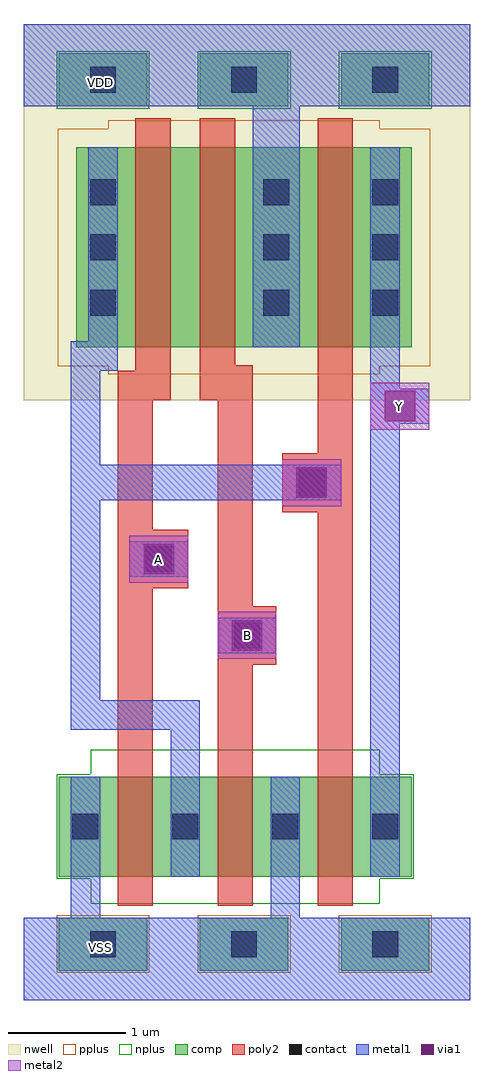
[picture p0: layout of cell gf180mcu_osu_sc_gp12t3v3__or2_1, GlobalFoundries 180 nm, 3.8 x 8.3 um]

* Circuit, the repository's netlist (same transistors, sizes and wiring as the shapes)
* Copyright 2022 Google LLC
*
* Licensed under the Apache License, Version 2.0 (the "License");
* you may not use this file except in compliance with the License.
* You may obtain a copy of the License at
*
*      http://www.apache.org/licenses/LICENSE-2.0
*
* Unless required by applicable law or agreed to in writing, software
* distributed under the License is distributed on an "AS IS" BASIS,
* WITHOUT WARRANTIES OR CONDITIONS OF ANY KIND, either express or implied.
* See the License for the specific language governing permissions and
* limitations under the License.

* NGSPICE file created from gf180mcu_osu_sc_gp12t3v3__or2_1.ext - technology: gf180mcuC

.subckt gf180mcu_osu_sc_gp12t3v3__or2_1 A B Y VDD VSS
X0 VDD B a_25_111# VDD pfet_03p3 w=1.7u l=0.3u
X1 a_25_111# A a_9_111# VDD pfet_03p3 w=1.7u l=0.3u
X2 Y a_9_111# VSS VSS nfet_03p3 w=0.85u l=0.3u
X3 a_9_111# A VSS VSS nfet_03p3 w=0.85u l=0.3u
X4 Y a_9_111# VDD VDD pfet_03p3 w=1.7u l=0.3u
X5 VSS B a_9_111# VSS nfet_03p3 w=0.85u l=0.3u
.ends

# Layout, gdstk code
import gdstk
lib = gdstk.Library(unit=1e-6, precision=1e-09)
def R(c, l, rs):  # rectangles x0, y0, x1, y1
    for r in rs: c.add(gdstk.rectangle(r[:2], r[2:], *l))
def A(c, l, x, y, w, h, nx, ny, dx, dy):  # array of equal rectangles
    R(c, l, [(x+i*dx, y+j*dy, x+i*dx+w, y+j*dy+h) for i in range(nx) for j in range(ny)])
nwell = (21, 0)
comp = (22, 0)
poly2 = (30, 0)
pplus = (31, 0)
nplus = (32, 0)
contact = (33, 0)
metal1 = (34, 0)
via1 = (35, 0)
metal2 = (36, 0)

gf180mcu_osu_sc_gp12t3v3 = lib.new_cell('gf180mcu_osu_sc_gp12t3v3__or2_1')
R(gf180mcu_osu_sc_gp12t3v3, nwell, [(0,5.1,3.8,8.3)])
A(gf180mcu_osu_sc_gp12t3v3, comp, 0.3, 0.25, 0.75, 0.45, 3, 2, 1.2, 7.35)
R(gf180mcu_osu_sc_gp12t3v3, comp, [(0.3,1.05,3.3,1.9), (0.45,5.55,3.3,7.25)])
R(gf180mcu_osu_sc_gp12t3v3, poly2, [(0.8,0.8,1.1,3.5), (1.65,0.8,1.95,2.85), (2.5,0.8,2.8,4.15), (1.65,2.85,2.15,3.35), (1.65,3.35,1.95,5.1), (0.8,3.5,1.4,4), (0.8,4,1.1,5.1), (2.2,4.15,2.8,4.65), (2.5,4.65,2.8,7.5), (0.8,5.1,1.25,5.35), (1.5,5.1,1.95,5.4), (0.95,5.35,1.25,7.5), (1.5,5.4,1.8,7.5)])
A(gf180mcu_osu_sc_gp12t3v3, pplus, 0.28, 0.23, 0.79, 0.49, 3, 1, 1.2, 0)
R(gf180mcu_osu_sc_gp12t3v3, pplus, [(0.72,5.32,3.03,5.39), (0.29,5.39,3.46,7.41), (0.72,7.41,3.03,7.48)])
A(gf180mcu_osu_sc_gp12t3v3, nplus, 0.28, 7.58, 0.79, 0.49, 3, 1, 1.2, 0)
R(gf180mcu_osu_sc_gp12t3v3, nplus, [(0.57,0.82,3.03,1.03), (0.28,1.03,3.32,1.92), (0.57,1.92,3.03,2.13)])
A(gf180mcu_osu_sc_gp12t3v3, contact, 0.565, 0.365, 0.22, 0.22, 3, 2, 1.2, 7.35)
A(gf180mcu_osu_sc_gp12t3v3, contact, 0.415, 1.365, 0.22, 0.22, 4, 1, 0.85, 0)
A(gf180mcu_osu_sc_gp12t3v3, contact, 0.565, 5.82, 0.22, 0.22, 1, 3, 0, 0.47)
A(gf180mcu_osu_sc_gp12t3v3, contact, 2.04, 5.82, 0.22, 0.22, 1, 3, 0, 0.47)
A(gf180mcu_osu_sc_gp12t3v3, contact, 2.965, 5.82, 0.22, 0.22, 1, 3, 0, 0.47)
R(gf180mcu_osu_sc_gp12t3v3, contact, [(1.79,2.99,2.01,3.21), (1.04,3.64,1.26,3.86), (2.34,4.29,2.56,4.51)])
R(gf180mcu_osu_sc_gp12t3v3, metal1, [(0,0,3.8,0.7), (0.4,0.7,0.65,1.9), (2.1,0.7,2.35,1.9), (1.25,1.05,1.5,2.3), (2.95,1.05,3.2,4.9), (0.4,2.3,1.5,2.55), (0.4,2.55,0.65,4.25), (1.65,2.95,2.15,3.25), (0.9,3.6,1.4,3.9), (0.4,4.25,2.7,4.55), (0.4,4.55,0.65,5.35), (2.95,4.9,3.45,5.2), (2.95,5.2,3.2,7.25), (0.4,5.35,0.8,5.6), (1.95,5.55,2.35,7.6), (0.55,5.6,0.8,7.25), (0,7.6,3.8,8.3)])
R(gf180mcu_osu_sc_gp12t3v3, via1, [(1.77,2.97,2.03,3.23), (1.02,3.62,1.28,3.88), (2.32,4.27,2.58,4.53), (3.07,4.92,3.33,5.18)])
R(gf180mcu_osu_sc_gp12t3v3, metal2, [(1.65,2.9,2.15,3.3), (0.9,3.55,1.4,3.95), (2.2,4.2,2.7,4.6), (2.95,4.85,3.45,5.25)])
gf180mcu_osu_sc_gp12t3v3.add(gdstk.Label('A', (1.15,3.75), layer=36, texttype=10))
gf180mcu_osu_sc_gp12t3v3.add(gdstk.Label('B', (1.9,3.1), layer=36, texttype=10))
gf180mcu_osu_sc_gp12t3v3.add(gdstk.Label('Y', (3.2,5.05), layer=36, texttype=10))
gf180mcu_osu_sc_gp12t3v3.add(gdstk.Label('VDD', (0.65,7.8), layer=34, texttype=10))
gf180mcu_osu_sc_gp12t3v3.add(gdstk.Label('VSS', (0.65,0.45), layer=34, texttype=10))

lib.write_gds('gf180mcu_osu_sc_gp12t3v3__or2_1.gds')
